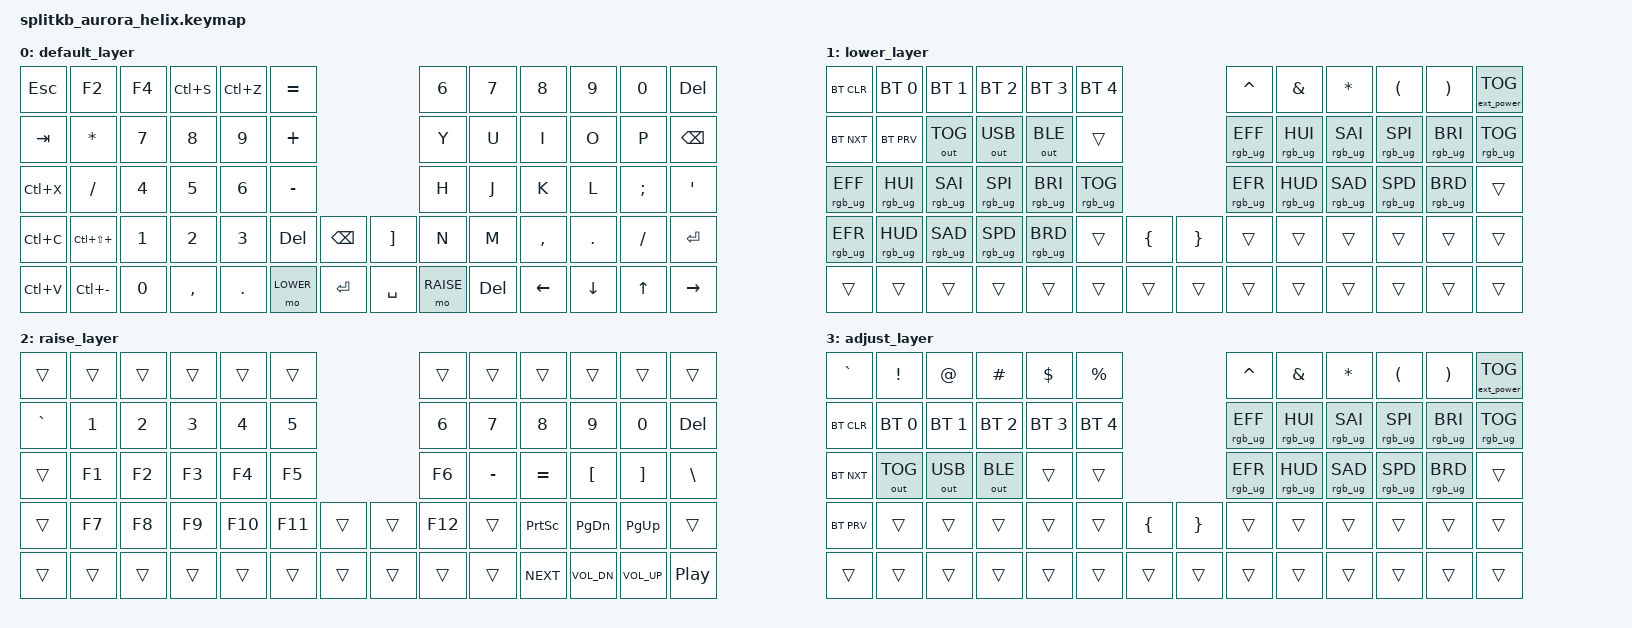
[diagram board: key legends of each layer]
/*
 * Copyright (c) 2023 The ZMK Contributors
 *
 * SPDX-License-Identifier: MIT
 */

#include <behaviors.dtsi>
#include <dt-bindings/zmk/keys.h>
#include <dt-bindings/zmk/bt.h>
#include <dt-bindings/zmk/rgb.h>
#include <dt-bindings/zmk/ext_power.h>
#include <dt-bindings/zmk/outputs.h>

#define DEFAULT 0
#define LOWER  1
#define RAISE  2
#define ADJUST 3

// Uncomment this block if using RGB
&led_strip {
       chain-length = <6>;
       chain-length = <38>; // Uncomment if using both per-key and underglow LEDs
       //chain-length = <32>; // Uncomment if using only per-key LEDs.
};


/* NOTE: At the time of the creation of this keymap, there are no specified codes for 'eisuu' and 'kana' input in ZMK.
However, 'LANG1' and 'LANG2' are fully-functioning candidates for 'kana' and 'eisuu' input respectively.
As such, those are in use within the default layer at this time.*/

/ {
       keymap {
              compatible = "zmk,keymap";

              default_layer {
                     // ---------------------------------------------------------------------------------------------------------------------------------
                     // |  ESC   |   F2   |   F4   |  SAVE  |  UNDO  |   =    |                                      |   6    |   7    |   8    |   9    |   0    |  DEL   |
                     // |  TAB   |   *    |   7    |   8    |   9    |   +    |                                      |   Y    |   U    |   I    |   O    |   P    |  BSPC  |
                     // |  CUT   |   /    |   4    |   5    |   6    |   -    |                                      |   H    |   J    |   K    |   L    |   ;    |   '    |
                     // |  COPY  | ADD R/C|   1    |   2    |   3    |   DEL  |  BSPC  |                    |  RBKT  |   N    |   M    |   ,    |   .    |   /    |  RET   |
                     // |  PASTE | DEL R/C|   0    |   ,    |   .    | LOWER  | ENTER  |                    |  SPACE | RAISE  |  DEL  |  LEFT  |  DOWN  |  UP    |  RIGHT |
                     bindings = <
                     &kp ESC    &kp F2                &kp F4    &kp LC(S)    &kp LC(Z)     &kp EQUAL                               &kp N6    &kp N7    &kp N8    &kp N9     &kp N0    &kp DEL
                     &kp TAB    &kp ASTRK             &kp N7    &kp N8       &kp N9        &kp PLUS                                &kp Y     &kp U     &kp I     &kp O      &kp P     &kp BSPC
                     &kp LC(X)  &kp SLASH             &kp N4    &kp N5       &kp N6        &kp MINUS                               &kp H     &kp J     &kp K     &kp L      &kp SEMI  &kp SQT
                     &kp LC(C)  &kp LC(LS(PLUS))      &kp N1    &kp N2       &kp N3        &kp DEL     &kp BSPC         &kp RBKT   &kp N     &kp M     &kp COMMA &kp PERIOD &kp SLASH &kp RET
                     &kp LC(V)  &kp LC(MINUS)         &kp N0    &kp COMMA    &kp PERIOD    &mo LOWER   &kp RET        &kp SPACE  &mo RAISE &kp DEL   &kp LEFT  &kp DOWN   &kp UP    &kp RIGHT
                     >;
              };
              lower_layer {
                     // ---------------------------------------------------------------------------------------------------------------------------------
                     // |  BT CLR  | BT SEL0  | BT SEL1  | BT SEL2  | BGT SEL3 | BT SEL4  |                                          |    ^     |    &     |    *     |    (     |    )     |  EP TOG  |
                     // |  BT NXT  | BT PRV   | OUT TOG  | OUT USB  | OUT BLE  |          |                                          | RGB EFF+ | RGB HUE+ | RGB SAT+ | RGB SPD+ | RGB BRI+ | RGB TOG  |
                     // | RGB EFF+ | RGB HUE+ | RGB SAT+ | RGB SPD+ | RGB BRI+ | RGB TOG  |                                          | RGB EFF- | RGB HUE- | RGB SAT- | RGB SPD- | RGB BRI- |          |
                     // | RGB EFF- | RGB HUE- | RGB SAT- | RGB SPD- | RGB BRI- |          |    {     |                    |    }     |          |          |          |          |          |          |
                     // |          |          |          |          |          |          |          |                    |          |          |          |          |          |          |          |
                     bindings = <
                     &bt BT_CLR      &bt BT_SEL 0    &bt BT_SEL 1    &bt BT_SEL 2    &bt BT_SEL 3    &bt BT_SEL 4                          &kp CARET       &kp AMPS        &kp ASTRK       &kp LPAR        &kp RPAR        &ext_power EP_TOG
                     &bt BT_NXT      &bt BT_PRV      &out OUT_TOG    &out OUT_USB    &out OUT_BLE    &trans                                &rgb_ug RGB_EFF &rgb_ug RGB_HUI &rgb_ug RGB_SAI &rgb_ug RGB_SPI &rgb_ug RGB_BRI &rgb_ug RGB_TOG
                     &rgb_ug RGB_EFF &rgb_ug RGB_HUI &rgb_ug RGB_SAI &rgb_ug RGB_SPI &rgb_ug RGB_BRI &rgb_ug RGB_TOG                       &rgb_ug RGB_EFR &rgb_ug RGB_HUD &rgb_ug RGB_SAD &rgb_ug RGB_SPD &rgb_ug RGB_BRD &trans
                     &rgb_ug RGB_EFR &rgb_ug RGB_HUD &rgb_ug RGB_SAD &rgb_ug RGB_SPD &rgb_ug RGB_BRD &trans       &kp LBRC        &kp RBRC &trans          &trans          &trans          &trans          &trans          &trans
                     &trans          &trans          &trans          &trans          &trans          &trans       &trans          &trans   &trans          &trans          &trans          &trans          &trans          &trans
                     >;
              };
              raise_layer {
                     // ---------------------------------------------------------------------------------------------------------------------------------
                     // |       |       |       |       |       |       |                                    |       |       |       |       |       |       |
                     // |   `   |   1   |   2   |   3   |   4   |   5   |                                    |   6   |   7   |   8   |   9   |   0   |  DEL  |
                     // |       |  F1   |  F2   |  F3   |  F4   |  F5   |                                    |  F6   |   -   |   =   |   [   |   ]   |   \   |
                     // |       |  F7   |  F8   |  F9   |  F10  |  F11  |       |                    |       |  F12  |       | PSCRN | PG_DN | PG_UP |       |
                     // |       |       |       |       |       |       |       |                    |       |       |       | NEXT  | VOL-  | VOL+  | PLAY  |
                     bindings = <
                     &trans    &trans &trans &trans &trans  &trans                       &trans  &trans    &trans     &trans       &trans       &trans
                     &kp GRAVE &kp N1 &kp N2 &kp N3 &kp N4  &kp N5                       &kp N6  &kp N7    &kp N8     &kp N9       &kp N0       &kp DEL
                     &trans    &kp F1 &kp F2 &kp F3 &kp F4  &kp F5                       &kp F6  &kp MINUS &kp EQUAL  &kp LBKT     &kp RBKT     &kp BSLH
                     &trans    &kp F7 &kp F8 &kp F9 &kp F10 &kp F11 &trans        &trans &kp F12 &trans    &kp PSCRN  &kp PG_DN    &kp PG_UP    &trans
                     &trans    &trans &trans &trans &trans  &trans  &trans        &trans &trans  &trans    &kp C_NEXT &kp C_VOL_DN &kp C_VOL_UP &kp C_PP
                     >;
              };
              adjust_layer {
                     // ---------------------------------------------------------------------------------------------------------------------------------
                     // |    `     |    !     |    @     |    #     |    $     |    %     |                                          |    ^     |    &     |    *     |    (     |    )     |  EP TOG  |
                     // |  BT CLR  | BT SEL0  | BT SEL1  | BT SEL2  | BGT SEL3 | BT SEL4  |                                          | RGB EFF+ | RGB HUE+ | RGB SAT+ | RGB SPD+ | RGB BRI+ | RGB TOG  |
                     // |  BT NXT  | OUT TOG  | OUT USB  | OUT BLE  |          |          |                                          | RGB EFF- | RGB HUE- | RGB SAT- | RGB SPD- | RGB BRI- |          |
                     // |  BT PRV  |          |          |          |          |          |    {     |                    |    }     |          |          |          |          |          |          |
                     // |          |          |          |          |          |          |          |                    |          |          |          |          |          |          |          |
                     bindings = <
                     &kp GRAVE  &kp EXCL     &kp AT       &kp HASH     &kp DLLR     &kp PRCNT                             &kp CARET       &kp AMPS        &kp ASTRK       &kp LPAR        &kp RPAR        &ext_power EP_TOG
                     &bt BT_CLR &bt BT_SEL 0 &bt BT_SEL 1 &bt BT_SEL 2 &bt BT_SEL 3 &bt BT_SEL 4                          &rgb_ug RGB_EFF &rgb_ug RGB_HUI &rgb_ug RGB_SAI &rgb_ug RGB_SPI &rgb_ug RGB_BRI &rgb_ug RGB_TOG
                     &bt BT_NXT &out OUT_TOG &out OUT_USB &out OUT_BLE &trans       &trans                                &rgb_ug RGB_EFR &rgb_ug RGB_HUD &rgb_ug RGB_SAD &rgb_ug RGB_SPD &rgb_ug RGB_BRD &trans
                     &bt BT_PRV &trans       &trans       &trans       &trans       &trans       &kp LBRC        &kp RBRC &trans          &trans          &trans          &trans          &trans          &trans
                     &trans     &trans       &trans       &trans       &trans       &trans       &trans          &trans   &trans          &trans          &trans          &trans          &trans          &trans
                     >;
              };
       };
};
